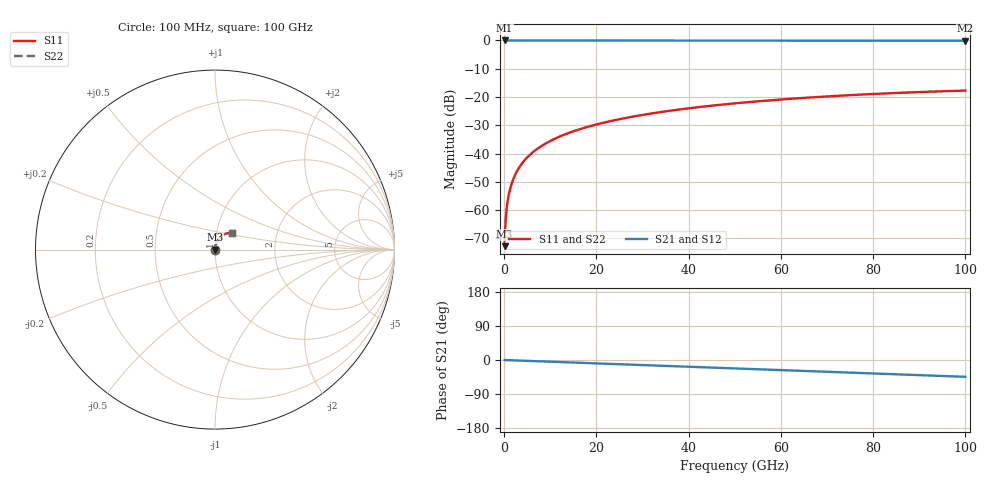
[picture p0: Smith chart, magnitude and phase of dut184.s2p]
! Touchstone file exported from HFSS 2026.1.0
!  File:  C:/ffzhzh/LocalFiles/Ansys_Project_Files/temp_train_TSV_184_1783507195_9504.aedt
!  Generated:  06:41:11 PM Jul  8, 2026
!  Design:  TSV
!  Project:  temp_train_TSV_184_1783507195_9504
! Variables:
!  h_bsmrdl = 2um
!  h_ox = 20um
!  h_rdl = 5um
!  h_sub = 83.97um
!  h_tmrdl = 5um
!  h_tsv = 83.97um
!  h_via = 3um
!  l_bsmrdl = 300um
!  l_sub = 422.78um
!  l_tmrdl = 200um
!  m_sub = 200um
!  pitch = 58.61um
!  r_tsv = 11.39um
!  s_tmrdl = 10um
!  w_bsmrdl = 18um
!  w_sub = 500um
!  w_tmrdl = 12um
!  x_tsv_center1 = 206um
!  x_tsv_center2 = 524um
!  x_tsv_center3 = 736um
!  x_tsv_center4 = 1054um
!  x_tsv_center5 = 1266um
!  x_tsv_center6 = 1584um
# GHz S MA R 50.000000
! Terminal data exported
! Port[1] = TSV1_1_T1
! Port[2] = TSV1_1_T2
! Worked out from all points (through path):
!   1000 points, 100 MHz to 100 GHz, reference 50 ohm
!   highest |S21| = 0.00 dB at 100 MHz (marker M1); lowest = -0.1 dB at 100 GHz (marker M2)
!   group delay of S21, straight-line fit = 1.23 ps
!   lowest |S11| = -72.7 dB at 100 MHz (marker M3), VSWR 1.00, Z = 50 + j0.0206 ohm
!   |S11| at or under -10 dB: start of sweep to end of sweep
!   |S22| runs from -72.7 to -17.7 dB; largest |S21 - S12| = 5.1e-15
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0.1  0.0002314 62.8  0.9999 -0.0  0.9999 -0.0  0.0002314 62.8
! Gamma 0 0 0 0
! Port Impedance 50 0 50 0
0.3  0.0006198 77.1  0.9999 -0.1  0.9999 -0.1  0.0006198 77.1
0.7  0.001353 80.4  0.9998 -0.3  0.9998 -0.3  0.001353 80.4
0.8  0.001528 80.8  0.9998 -0.4  0.9998 -0.4  0.001528 80.8
1  0.001874 81.5  0.9997 -0.5  0.9997 -0.5  0.001874 81.5
1.3  0.002387 82.2  0.9997 -0.6  0.9997 -0.6  0.002387 82.2
1.7  0.003068 82.9  0.9997 -0.8  0.9997 -0.8  0.003068 82.9
2.3  0.004083 83.4  0.9996 -1.0  0.9996 -1.0  0.004083 83.4
3  0.005257 83.7  0.9995 -1.4  0.9995 -1.4  0.005257 83.7
3.8  0.006589 83.9  0.9995 -1.7  0.9995 -1.7  0.006589 83.9
4.8  0.008242 83.9  0.9994 -2.2  0.9994 -2.2  0.008242 83.9
6  0.01022 83.7  0.9993 -2.7  0.9993 -2.7  0.01022 83.7
8.8  0.01479 83.1  0.9991 -3.9  0.9991 -3.9  0.01479 83.1
12.4  0.02063 81.8  0.9989 -5.6  0.9989 -5.6  0.02063 81.8
16.8  0.02768 80.2  0.9985 -7.5  0.9985 -7.5  0.02768 80.2
24.2  0.03936 77.3  0.9979 -10.8  0.9979 -10.8  0.03936 77.3
33.4  0.05346 73.5  0.997 -14.9  0.997 -14.9  0.05346 73.5
41.2  0.06496 70.2  0.9962 -18.4  0.9962 -18.4  0.06496 70.2
50.1  0.07747 66.4  0.9951 -22.3  0.9951 -22.3  0.07747 66.4
66.7  0.09866 59.2  0.993 -29.6  0.993 -29.6  0.09866 59.2
83.4  0.1165 52.0  0.9907 -37.0  0.9907 -37.0  0.1165 52.0
100  0.13 44.8  0.9886 -44.4  0.9886 -44.4  0.13 44.8
